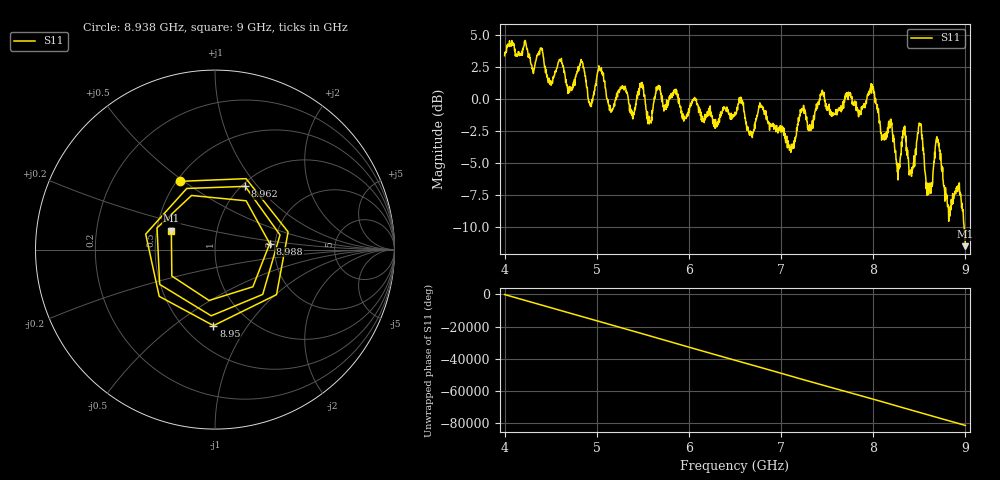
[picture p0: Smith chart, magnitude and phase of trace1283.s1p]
! Created with skrf 1.8.0 (http://scikit-rf.org).
# Hz S RI R 50.0
!freq ReS11 ImS11
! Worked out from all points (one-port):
!   1601 points, 4 GHz to 9 GHz, reference 50 ohm
!   lowest |S11| = -11.5 dB at 9 GHz (marker M1), VSWR 1.72, Z = 29.9 + j6.79 ohm
!   |S11| at or under -10 dB: 8.985586 GHz to end of sweep
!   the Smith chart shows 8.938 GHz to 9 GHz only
!   S11 on the Smith chart (normalised r, x): 8.938 GHz: 0.52, +0.49; 8.95 GHz: 0.69, -0.71; 8.962 GHz: 1.04, +0.86; 8.988 GHz: 1.87, +0.14; 9 GHz: 0.60, +0.14
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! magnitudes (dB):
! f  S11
! 4 GHz  3.4
! 4.625 GHz  2.8
! 4.841 GHz  2.9
! 4.931 GHz  -0.5
! 5.028 GHz  2.3
! 5.15 GHz  -1.0
! 5.25 GHz  0.8
! 5.388 GHz  -1.4
! 5.484 GHz  1.2
! 5.572 GHz  -1.9
! 5.662 GHz  0.8
! 5.875 GHz  0.2
! 6.5 GHz  -1.0
! 7.125 GHz  -3.8
! 7.234 GHz  -0.9
! 7.75 GHz  0.2
! 7.988 GHz  1.1
! 8.262 GHz  -5.7
! 8.375 GHz  -4.3
! 8.506 GHz  -2.0
! 8.597 GHz  -7.2
! 8.697 GHz  -3.4
! 8.819 GHz  -9.6
! 8.938 GHz  -7.4
! 8.95 GHz  -7.5
! 8.962 GHz  -8.2
! 8.988 GHz  -10.3
! 9 GHz  -11.5
